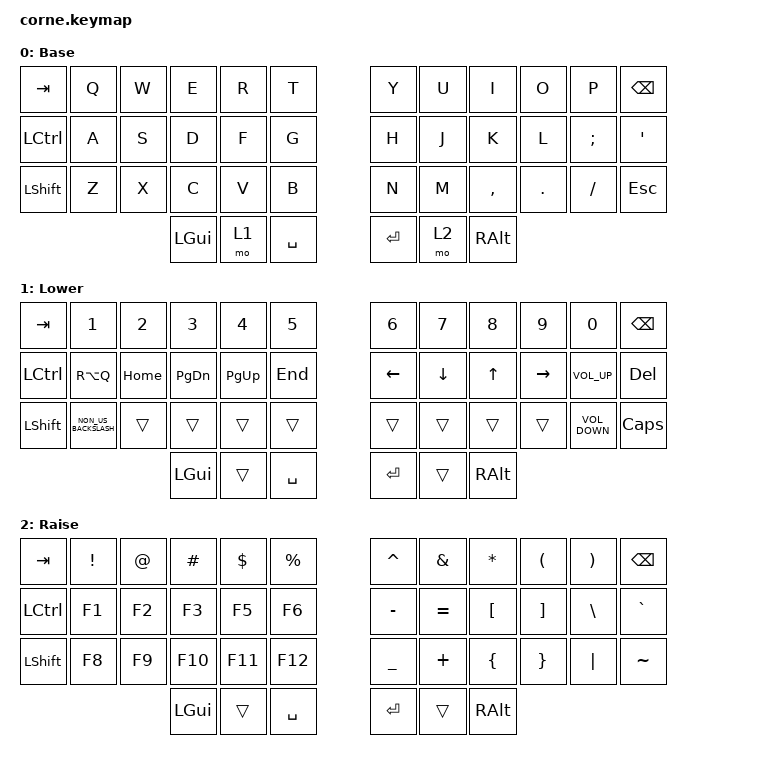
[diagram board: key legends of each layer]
/*
 * Copyright (c) 2020 The ZMK Contributors
 *
 * SPDX-License-Identifier: MIT
 */

#include <behaviors.dtsi>
#include <dt-bindings/zmk/keys.h>

/ {
    keymap {
        compatible = "zmk,keymap";

        default_layer {
            // -----------------------------------------------------------------------------------------
            // |  TAB |  Q  |  W  |  E  |  R  |  T  |   |  Y  |  U   |  I  |  O  |  P  | BKSP |
            // | CTRL |  A  |  S  |  D  |  F  |  G  |   |  H  |  J   |  K  |  L  |  ;  |  '   |
            // | SHFT |  Z  |  X  |  C  |  V  |  B  |   |  N  |  M   |  ,  |  .  |  /  | ESC  |
            //                    | GUI | LWR | SPC |   | ENT | RSE  | ALT |

            display-name = "Base";
            bindings = <
&kp TAB    &kp Q  &kp W  &kp E     &kp R  &kp T        &kp Y    &kp U  &kp I      &kp O    &kp P      &kp BSPC
&kp LCTRL  &kp A  &kp S  &kp D     &kp F  &kp G        &kp H    &kp J  &kp K      &kp L    &kp SEMI   &kp SQT
&kp LSHFT  &kp Z  &kp X  &kp C     &kp V  &kp B        &kp N    &kp M  &kp COMMA  &kp DOT  &kp SLASH  &kp ESC
                         &kp LGUI  &mo 1  &kp SPACE    &kp RET  &mo 2  &kp RALT
            >;
        };

        lower_layer {
            // -----------------------------------------------------------------------------------------
            // |  TAB |  1  |  2  |  3  |  4  |  5  |   |  6  |  7  |  8  |  9  |  0  | BKSP |
            // | BTCLR| BT1 | BT2 | BT3 | BT4 | BT5 |   | LFT | DWN |  UP | RGT |     |      |
            // | SHFT |     |     |     |     |     |   |     |     |     |     |     |      |
            //                    | GUI |     | SPC |   | ENT |     | ALT |

            display-name = "Lower";
            bindings = <
&kp TAB    &kp N1                &kp N2    &kp N3         &kp N4     &kp N5       &kp N6    &kp N7    &kp N8    &kp N9     &kp N0             &kp BSPC
&kp LCTRL  &kp RA(Q)             &kp HOME  &kp PAGE_DOWN  &kp PG_UP  &kp END      &kp LEFT  &kp DOWN  &kp UP    &kp RIGHT  &kp C_VOL_UP       &kp DELETE
&kp LSHFT  &kp NON_US_BACKSLASH  &trans    &trans         &trans     &trans       &trans    &trans    &trans    &trans     &kp C_VOLUME_DOWN  &kp CAPSLOCK
                                           &kp LGUI       &trans     &kp SPACE    &kp RET   &trans    &kp RALT
            >;
        };

        raise_layer {
            // -----------------------------------------------------------------------------------------
            // |  TAB |  !  |  @  |  #  |  $  |  %  |   |  ^  |  &  |  *  |  (  |  )  | BKSP |
            // | CTRL |     |     |     |     |     |   |  -  |  =  |  [  |  ]  |  \  |  `   |
            // | SHFT |     |     |     |     |     |   |  _  |  +  |  {  |  }  | "|" |  ~   |
            //                    | GUI |     | SPC |   | ENT |     | ALT |

            display-name = "Raise";
            bindings = <
&kp TAB    &kp EXCL  &kp AT  &kp HASH  &kp DLLR  &kp PRCNT    &kp CARET  &kp AMPS   &kp ASTERISK  &kp LEFT_PARENTHESIS  &kp RPAR  &kp BSPC
&kp LCTRL  &kp F1    &kp F2  &kp F3    &kp F5    &kp F6       &kp MINUS  &kp EQUAL  &kp LBKT      &kp RBKT              &kp BSLH  &kp GRAVE
&kp LSHFT  &kp F8    &kp F9  &kp F10   &kp F11   &kp F12      &kp UNDER  &kp PLUS   &kp LBRC      &kp RBRC              &kp PIPE  &kp TILDE
                             &kp LGUI  &trans    &kp SPACE    &kp RET    &trans     &kp RALT
            >;
        };

        extra_1 { status = "reserved"; };

        extra_2 { status = "reserved"; };

        extra_3 { status = "reserved"; };
    };
};
